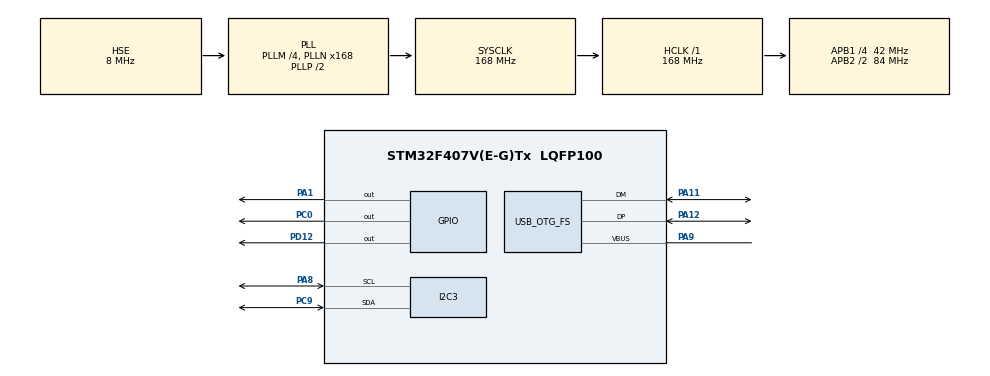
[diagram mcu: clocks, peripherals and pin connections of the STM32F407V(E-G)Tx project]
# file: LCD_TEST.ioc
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Mcu.Family=STM32F4
Mcu.Name=STM32F407V(E-G)Tx
Mcu.Package=LQFP100
NVIC.OTG_FS_IRQn=true\:0\:0\:false\:false\:true\:false\:true
NVIC.PriorityGroup=NVIC_PRIORITYGROUP_4
PA0-WKUP.Mode=SYS_WakeUp0
PA0-WKUP.Signal=SYS_WKUP
PA1.Signal=GPIO_Output
PA11.Mode=Host_Only
PA11.Signal=USB_OTG_FS_DM
PA12.Mode=Host_Only
PA12.Signal=USB_OTG_FS_DP
PA13.Mode=Serial_Wire
PA13.Signal=SYS_JTMS-SWDIO
PA14.Mode=Serial_Wire
PA14.Signal=SYS_JTCK-SWCLK
PA8.Mode=I2C
PA8.Signal=I2C3_SCL
PA9.Mode=Activate_VBUS
PA9.Signal=USB_OTG_FS_VBUS
PC0.Signal=GPIO_Output
PC9.Mode=I2C
PC9.Signal=I2C3_SDA
PD12.Signal=GPIO_Output
PH0-OSC_IN.Mode=HSE-External-Oscillator
PH0-OSC_IN.Signal=RCC_OSC_IN
PH1-OSC_OUT.Mode=HSE-External-Oscillator
PH1-OSC_OUT.Signal=RCC_OSC_OUT
ProjectManager.HeapSize=0x200
ProjectManager.StackSize=0x400
ProjectManager.TargetToolchain=STM32CubeIDE
RCC.48MHZClocksFreq_Value=48000000
RCC.AHBFreq_Value=168000000
RCC.APB1CLKDivider=RCC_HCLK_DIV4
RCC.APB1Freq_Value=42000000
RCC.APB1TimFreq_Value=84000000
RCC.APB2CLKDivider=RCC_HCLK_DIV2
RCC.APB2Freq_Value=84000000
RCC.APB2TimFreq_Value=168000000
RCC.CortexFreq_Value=168000000
RCC.HCLKFreq_Value=168000000
RCC.HSE_VALUE=8000000
RCC.HSI_VALUE=16000000
RCC.LSE_VALUE=32768
RCC.PLLM=4
RCC.PLLN=168
RCC.PLLQ=7
RCC.SYSCLKFreq_VALUE=168000000
RCC.SYSCLKSource=RCC_SYSCLKSOURCE_PLLCLK
RCC.VCOOutputFreq_Value=336000000
TIM2.Period=0xFFFFFFFF-1
TIM2.Prescaler=83
USB_HOST.BSP.number=1
USB_HOST.USBH_HandleTypeDef-MSC_FS=hUsbHostFS
USB_HOST.VirtualModeFS=Msc
USB_HOST0.BSP.STBoard=false
USB_HOST0.BSP.api=Unknown
USB_HOST0.BSP.i2caddr=0
USB_HOST0.BSP.instance=PC0
USB_HOST0.BSP.ip=GPIO
USB_HOST0.BSP.mode=Output
USB_HOST0.BSP.name=Drive_VBUS_FS
USB_HOST0.BSP.solution=PC0
USB_OTG_FS.VirtualMode=Host_Only
USB_OTG_FS.phy_itface=HCD_PHY_EMBEDDED
VP_FATFS_VS_USB.Mode=USB
VP_TIM2_VS_ClockSourceINT.Mode=Internal
VP_USB_HOST_VS_USB_HOST_MSC_FS.Mode=MSC_FS
board=custom

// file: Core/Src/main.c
/* USER CODE BEGIN Header */
/**
  ******************************************************************************
  * @file           : main.c
  * @brief          : Main program body
  ******************************************************************************
  * @attention
  *
  * <h2><center>&copy; Copyright (c) 2021 STMicroelectronics.
  * All rights reserved.</center></h2>
  *
  * This software component is licensed by ST under BSD 3-Clause license,
  * the "License"; You may not use this file except in compliance with the
  * License. You may obtain a copy of the License at:
  *                        opensource.org/licenses/BSD-3-Clause
  *
  ******************************************************************************
  */
/* USER CODE END Header */
#include "main.h"
#include "fatfs.h"
#include "usb_host.h"

/* USER CODE BEGIN Includes */
#include "lcd.h"
#include "stdio.h"
#include "stdlib.h"
/* USER CODE END Includes */

I2C_HandleTypeDef hi2c3;

TIM_HandleTypeDef htim2;

void SystemClock_Config(void);
static void MX_GPIO_Init(void);
static void MX_TIM2_Init(void);
static void MX_I2C3_Init(void);
void MX_USB_HOST_Process(void);

int main(void)
{
  /* USER CODE BEGIN 1 */
	char str[100];
  /* USER CODE END 1 */

  /* MCU Configuration--------------------------------------------------------*/

  /* Reset of all peripherals, Initializes the Flash interface and the Systick. */
  HAL_Init();

  /* Configure the system clock */
  SystemClock_Config();

  /* Initialize all configured peripherals */
  MX_GPIO_Init();
  MX_TIM2_Init();
  MX_I2C3_Init();
  MX_FATFS_Init();
  MX_USB_HOST_Init();
  /* USER CODE BEGIN 2 */

	HAL_TIM_Base_Start(&htim2);

	LCD_ini();
//	sprintf(str,"");
//	LCD_String(str);
//	LCD_SetPos(10, 2);
//	sprintf(str,"ARM mc");
//	LCD_String(str);
//	HAL_Delay(2000);
	LCD_Clear();
	LCD_SetPos(4, 0);
	LCD_String(str);

	HAL_Delay(2000);

  /* USER CODE END 2 */

  /* Infinite loop */
  /* USER CODE BEGIN WHILE */
  static uint16_t timeLeftSec = 0xffffU;
  while (1)
  {
    /* USER CODE END WHILE */
    MX_USB_HOST_Process();

    /* USER CODE BEGIN 3 */

	  char snum[6];

	  // convert 123 to string [buf]
	  itoa(timeLeftSec, snum, 10);

	  LCD_SetPos(0, 0);
	  LCD_String("Can't touch this!");
	  HAL_Delay(3000);
	  LCD_Clear();

	  LCD_SetPos(0, 0);
	  LCD_String("TimeLeft:");
	  LCD_SetPos(0, 1);
	  LCD_String(">>");
	  LCD_SetPos(2, 1);
	  LCD_String(snum);

	  LCD_SetPos(2, 8);
	  LCD_String("sec");
	  timeLeftSec--;

	  HAL_GPIO_TogglePin(GPIOD, GPIO_PIN_12);
	  HAL_Delay(1000);
  }
  /* USER CODE END 3 */
}

void SystemClock_Config(void)
{
  RCC_OscInitTypeDef RCC_OscInitStruct = {0};
  RCC_ClkInitTypeDef RCC_ClkInitStruct = {0};

  /** Configure the main internal regulator output voltage
  */
  __HAL_RCC_PWR_CLK_ENABLE();
  __HAL_PWR_VOLTAGESCALING_CONFIG(PWR_REGULATOR_VOLTAGE_SCALE1);
  /** Initializes the RCC Oscillators according to the specified parameters
  * in the RCC_OscInitTypeDef structure.
  */
  RCC_OscInitStruct.OscillatorType = RCC_OSCILLATORTYPE_HSE;
  RCC_OscInitStruct.HSEState = RCC_HSE_ON;
  RCC_OscInitStruct.PLL.PLLState = RCC_PLL_ON;
  RCC_OscInitStruct.PLL.PLLSource = RCC_PLLSOURCE_HSE;
  RCC_OscInitStruct.PLL.PLLM = 4;
  RCC_OscInitStruct.PLL.PLLN = 168;
  RCC_OscInitStruct.PLL.PLLP = RCC_PLLP_DIV2;
  RCC_OscInitStruct.PLL.PLLQ = 7;
  if (HAL_RCC_OscConfig(&RCC_OscInitStruct) != HAL_OK)
  {
    Error_Handler();
  }
  /** Initializes the CPU, AHB and APB buses clocks
  */
  RCC_ClkInitStruct.ClockType = RCC_CLOCKTYPE_HCLK|RCC_CLOCKTYPE_SYSCLK
                              |RCC_CLOCKTYPE_PCLK1|RCC_CLOCKTYPE_PCLK2;
  RCC_ClkInitStruct.SYSCLKSource = RCC_SYSCLKSOURCE_PLLCLK;
  RCC_ClkInitStruct.AHBCLKDivider = RCC_SYSCLK_DIV1;
  RCC_ClkInitStruct.APB1CLKDivider = RCC_HCLK_DIV4;
  RCC_ClkInitStruct.APB2CLKDivider = RCC_HCLK_DIV2;

  if (HAL_RCC_ClockConfig(&RCC_ClkInitStruct, FLASH_LATENCY_5) != HAL_OK)
  {
    Error_Handler();
  }
}

static void MX_I2C3_Init(void)
{

  hi2c3.Instance = I2C3;
  hi2c3.Init.ClockSpeed = 100000;
  hi2c3.Init.DutyCycle = I2C_DUTYCYCLE_2;
  hi2c3.Init.OwnAddress1 = 0;
  hi2c3.Init.AddressingMode = I2C_ADDRESSINGMODE_7BIT;
  hi2c3.Init.DualAddressMode = I2C_DUALADDRESS_DISABLE;
  hi2c3.Init.OwnAddress2 = 0;
  hi2c3.Init.GeneralCallMode = I2C_GENERALCALL_DISABLE;
  hi2c3.Init.NoStretchMode = I2C_NOSTRETCH_DISABLE;
  if (HAL_I2C_Init(&hi2c3) != HAL_OK)
  {
    Error_Handler();
  }

}

static void MX_TIM2_Init(void)
{

  TIM_ClockConfigTypeDef sClockSourceConfig = {0};
  TIM_MasterConfigTypeDef sMasterConfig = {0};

  htim2.Instance = TIM2;
  htim2.Init.Prescaler = 83;
  htim2.Init.CounterMode = TIM_COUNTERMODE_UP;
  htim2.Init.Period = 0xFFFFFFFF-1;
  htim2.Init.ClockDivision = TIM_CLOCKDIVISION_DIV1;
  htim2.Init.AutoReloadPreload = TIM_AUTORELOAD_PRELOAD_DISABLE;
  if (HAL_TIM_Base_Init(&htim2) != HAL_OK)
  {
    Error_Handler();
  }
  sClockSourceConfig.ClockSource = TIM_CLOCKSOURCE_INTERNAL;
  if (HAL_TIM_ConfigClockSource(&htim2, &sClockSourceConfig) != HAL_OK)
  {
    Error_Handler();
  }
  sMasterConfig.MasterOutputTrigger = TIM_TRGO_RESET;
  sMasterConfig.MasterSlaveMode = TIM_MASTERSLAVEMODE_DISABLE;
  if (HAL_TIMEx_MasterConfigSynchronization(&htim2, &sMasterConfig) != HAL_OK)
  {
    Error_Handler();
  }

}

static void MX_GPIO_Init(void)
{
  GPIO_InitTypeDef GPIO_InitStruct = {0};

  /* GPIO Ports Clock Enable */
  __HAL_RCC_GPIOE_CLK_ENABLE();
  __HAL_RCC_GPIOC_CLK_ENABLE();
  __HAL_RCC_GPIOH_CLK_ENABLE();
  __HAL_RCC_GPIOA_CLK_ENABLE();
  __HAL_RCC_GPIOB_CLK_ENABLE();
  __HAL_RCC_GPIOD_CLK_ENABLE();

  /*Configure GPIO pin Output Level */
  HAL_GPIO_WritePin(GPIOC, GPIO_PIN_0, GPIO_PIN_RESET);

  /*Configure GPIO pin Output Level */
  HAL_GPIO_WritePin(GPIOA, GPIO_PIN_1, GPIO_PIN_RESET);

  /*Configure GPIO pin Output Level */
  HAL_GPIO_WritePin(GPIOD, GPIO_PIN_12, GPIO_PIN_RESET);

  /*Configure GPIO pins : PE2 PE3 PE4 PE5
                           PE6 PE7 PE8 PE9
                           PE10 PE11 PE12 PE13
                           PE14 PE15 PE0 PE1 */
  GPIO_InitStruct.Pin = GPIO_PIN_2|GPIO_PIN_3|GPIO_PIN_4|GPIO_PIN_5
                          |GPIO_PIN_6|GPIO_PIN_7|GPIO_PIN_8|GPIO_PIN_9
                          |GPIO_PIN_10|GPIO_PIN_11|GPIO_PIN_12|GPIO_PIN_13
                          |GPIO_PIN_14|GPIO_PIN_15|GPIO_PIN_0|GPIO_PIN_1;
  GPIO_InitStruct.Mode = GPIO_MODE_ANALOG;
  GPIO_InitStruct.Pull = GPIO_NOPULL;
  HAL_GPIO_Init(GPIOE, &GPIO_InitStruct);

  /*Configure GPIO pins : PC13 PC14 PC15 PC1
                           PC2 PC3 PC4 PC5
                           PC6 PC7 PC8 PC10
                           PC11 PC12 */
  GPIO_InitStruct.Pin = GPIO_PIN_13|GPIO_PIN_14|GPIO_PIN_15|GPIO_PIN_1
                          |GPIO_PIN_2|GPIO_PIN_3|GPIO_PIN_4|GPIO_PIN_5
                          |GPIO_PIN_6|GPIO_PIN_7|GPIO_PIN_8|GPIO_PIN_10
                          |GPIO_PIN_11|GPIO_PIN_12;
  GPIO_InitStruct.Mode = GPIO_MODE_ANALOG;
  GPIO_InitStruct.Pull = GPIO_NOPULL;
  HAL_GPIO_Init(GPIOC, &GPIO_InitStruct);

  /*Configure GPIO pin : PC0 */
  GPIO_InitStruct.Pin = GPIO_PIN_0;
  GPIO_InitStruct.Mode = GPIO_MODE_OUTPUT_PP;
  GPIO_InitStruct.Pull = GPIO_NOPULL;
  GPIO_InitStruct.Speed = GPIO_SPEED_FREQ_LOW;
  HAL_GPIO_Init(GPIOC, &GPIO_InitStruct);

  /*Configure GPIO pin : PA1 */
  GPIO_InitStruct.Pin = GPIO_PIN_1;
  GPIO_InitStruct.Mode = GPIO_MODE_OUTPUT_PP;
  GPIO_InitStruct.Pull = GPIO_NOPULL;
  GPIO_InitStruct.Speed = GPIO_SPEED_FREQ_LOW;
  HAL_GPIO_Init(GPIOA, &GPIO_InitStruct);

  /*Configure GPIO pins : PA2 PA3 PA4 PA5
                           PA6 PA7 PA10 PA15 */
  GPIO_InitStruct.Pin = GPIO_PIN_2|GPIO_PIN_3|GPIO_PIN_4|GPIO_PIN_5
                          |GPIO_PIN_6|GPIO_PIN_7|GPIO_PIN_10|GPIO_PIN_15;
  GPIO_InitStruct.Mode = GPIO_MODE_ANALOG;
  GPIO_InitStruct.Pull = GPIO_NOPULL;
  HAL_GPIO_Init(GPIOA, &GPIO_InitStruct);

  /*Configure GPIO pins : PB0 PB1 PB2 PB10
                           PB11 PB12 PB13 PB14
                           PB15 PB3 PB4 PB5
                           PB6 PB7 PB8 PB9 */
  GPIO_InitStruct.Pin = GPIO_PIN_0|GPIO_PIN_1|GPIO_PIN_2|GPIO_PIN_10
                          |GPIO_PIN_11|GPIO_PIN_12|GPIO_PIN_13|GPIO_PIN_14
                          |GPIO_PIN_15|GPIO_PIN_3|GPIO_PIN_4|GPIO_PIN_5
                          |GPIO_PIN_6|GPIO_PIN_7|GPIO_PIN_8|GPIO_PIN_9;
  GPIO_InitStruct.Mode = GPIO_MODE_ANALOG;
  GPIO_InitStruct.Pull = GPIO_NOPULL;
  HAL_GPIO_Init(GPIOB, &GPIO_InitStruct);

  /*Configure GPIO pins : PD8 PD9 PD10 PD11
                           PD13 PD14 PD15 PD0
                           PD1 PD2 PD3 PD4
                           PD5 PD6 PD7 */
  GPIO_InitStruct.Pin = GPIO_PIN_8|GPIO_PIN_9|GPIO_PIN_10|GPIO_PIN_11
                          |GPIO_PIN_13|GPIO_PIN_14|GPIO_PIN_15|GPIO_PIN_0
                          |GPIO_PIN_1|GPIO_PIN_2|GPIO_PIN_3|GPIO_PIN_4
                          |GPIO_PIN_5|GPIO_PIN_6|GPIO_PIN_7;
  GPIO_InitStruct.Mode = GPIO_MODE_ANALOG;
  GPIO_InitStruct.Pull = GPIO_NOPULL;
  HAL_GPIO_Init(GPIOD, &GPIO_InitStruct);

  /*Configure GPIO pin : PD12 */
  GPIO_InitStruct.Pin = GPIO_PIN_12;
  GPIO_InitStruct.Mode = GPIO_MODE_OUTPUT_PP;
  GPIO_InitStruct.Pull = GPIO_NOPULL;
  GPIO_InitStruct.Speed = GPIO_SPEED_FREQ_LOW;
  HAL_GPIO_Init(GPIOD, &GPIO_InitStruct);

}

void Error_Handler(void)
{
  __disable_irq();
  while (1)
  {
  }
}

/************************ (C) COPYRIGHT STMicroelectronics *****END OF FILE****/
